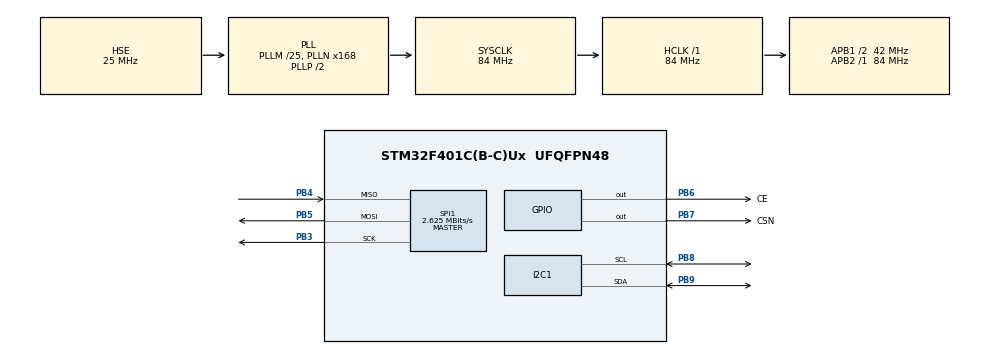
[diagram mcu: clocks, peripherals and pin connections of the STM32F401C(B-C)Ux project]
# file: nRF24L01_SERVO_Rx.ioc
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Mcu.Family=STM32F4
RCC.PLLSourceVirtual=RCC_PLLSOURCE_HSE
RCC.CortexFreq_Value=84000000
SPI1.VirtualType=VM_MASTER
PH1\ -\ OSC_OUT.Mode=HSE-External-Oscillator
PB6.GPIO_Label=CE
RCC.APB1CLKDivider=RCC_HCLK_DIV2
RCC.SYSCLKSource=RCC_SYSCLKSOURCE_PLLCLK
ProjectManager.StackSize=0x400
PA13.Signal=SYS_JTMS-SWDIO
PH0\ -\ OSC_IN.Mode=HSE-External-Oscillator
PH0\ -\ OSC_IN.Signal=RCC_OSC_IN
ProjectManager.TargetToolchain=STM32CubeIDE
SPI1.Direction=SPI_DIRECTION_2LINES
RCC.HCLKFreq_Value=84000000
PB9.Mode=I2C
RCC.APB2TimFreq_Value=84000000
PB6.Signal=GPIO_Output
SPI1.CalculateBaudRate=2.625 MBits/s
RCC.LSE_VALUE=32768
RCC.AHBFreq_Value=84000000
RCC.HSE_VALUE=25000000
PH1\ -\ OSC_OUT.Signal=RCC_OSC_OUT
PB3.Mode=Full_Duplex_Master
board=custom
RCC.VCOOutputFreq_Value=168000000
RCC.APB2Freq_Value=84000000
PB4.Mode=Full_Duplex_Master
SPI1.Mode=SPI_MODE_MASTER
PA14.Mode=Serial_Wire
PB5.Mode=Full_Duplex_Master
PB7.Signal=GPIO_Output
PA13.Mode=Serial_Wire
Mcu.Name=STM32F401C(B-C)Ux
PB7.GPIO_Label=CSN
RCC.48MHZClocksFreq_Value=42000000
PB3.Signal=SPI1_SCK
RCC.SYSCLKFreq_VALUE=84000000
Mcu.Package=UFQFPN48
PB5.Signal=SPI1_MOSI
PB9.Signal=I2C1_SDA
PA14.Signal=SYS_JTCK-SWCLK
ProjectManager.HeapSize=0x200
RCC.HSI_VALUE=16000000
NVIC.PriorityGroup=NVIC_PRIORITYGROUP_4
RCC.PLLM=25
PB8.Mode=I2C
RCC.PLLN=168
RCC.APB1TimFreq_Value=84000000
PB8.Signal=I2C1_SCL
RCC.APB1Freq_Value=42000000
SPI1.BaudRatePrescaler=SPI_BAUDRATEPRESCALER_32
PB4.Signal=SPI1_MISO

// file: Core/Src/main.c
/* USER CODE BEGIN Header */
/**
  ******************************************************************************
  * @file           : main.c
  * @brief          : Main program body
  ******************************************************************************
  * @attention
  *
  * <h2><center>&copy; Copyright (c) 2023 STMicroelectronics.
  * All rights reserved.</center></h2>
  *
  * This software component is licensed by ST under BSD 3-Clause license,
  * the "License"; You may not use this file except in compliance with the
  * License. You may obtain a copy of the License at:
  *                        opensource.org/licenses/BSD-3-Clause
  *
  ******************************************************************************
  */
/* USER CODE END Header */
#include "main.h"
#include "i2c.h"
#include "spi.h"
#include "gpio.h"

/* USER CODE BEGIN Includes */

	/* nRF24L01 */

		#include "NRF24L01.h"

	/* PCA9685 SERVO */

		#include "pca9685.h"

/* USER CODE END Includes */

/* USER CODE BEGIN PD */

	/* DEFINE SERVO */

		#define SERVO_COUNT	2

/* USER CODE END PD */

/* USER CODE BEGIN PM */

	/* nRF24L01 */

		uint8_t Rxaddr[5] = {'S','T','E','A','M'};
		uint8_t RxData[8];
		uint32_t lastTime = 0;

		float S1, S2, S3, S4 ;
		float Vx, Vy, Omega;

		int i, x;
		int Joystick_x ;
		int Joystick_y ;
		long last_time = 0, current_time = 0;;
		int Joystick();

/* USER CODE END PM */

/* USER CODE BEGIN PV */

	/* ActiveServo */

/* USER CODE END PV */

void SystemClock_Config(void);
/* USER CODE BEGIN PFP */

double map(double x, double in_min, double in_max, double out_min, double out_max) {
  return (x - in_min) * (out_max - out_min) / (in_max - in_min) + out_min;
}

	/*  RESETT DATA */

			void reset_data(void){
			  RxData[0] = 128;//x1
			  RxData[1] = 128;//y1
			  RxData[2] = 128;//x2
			  RxData[3] = 128; //y2
			  RxData[4] = 128; //y2
			  RxData[5] = 128; //y2
			  RxData[6] = 0; //y2
			  RxData[7] = 0; //y2
			}

/* USER CODE END PFP */

int main(void)
{

  /* MCU Configuration--------------------------------------------------------*/

  /* Reset of all peripherals, Initializes the Flash interface and the Systick. */
  HAL_Init();

  /* Configure the system clock */
  SystemClock_Config();

  /* Initialize all configured peripherals */
  MX_GPIO_Init();
  MX_I2C1_Init();
  MX_SPI1_Init();
  /* USER CODE BEGIN 2 */

  	 /* nRF24L01 Rxaddr */

		  NRF24_Init();
		  NRF24_RxMode(Rxaddr, 112, 8);//NRF24_TxMode(Address, channel, payload_size)
		  RxData[0] = 128;//x1
		  RxData[1] = 128;//y1
		  RxData[2] = 128;//x2
		  RxData[3] = 128; //y2
		  RxData[4] = 128; //y2
		  RxData[5] = 128; //y2
		  RxData[6] = 0; //y2
		  RxData[7] = 0; //y2

	 /* PCA SERVO */

		  PCA9685_Init(&hi2c1);

  /* USER CODE END 2 */

  /* Infinite loop */
  while (1)
  {

    /* USER CODE BEGIN 3 */

		  /* DATA RECEIVER */

			  if(DataReady(1)>0){
				  NRF24_Receive(RxData, 8);
				  lastTime = HAL_GetTick();
			  }

			  if((HAL_GetTick() - lastTime > 10)){
			  	  reset_data();
			  }

		/* DATA RECEIVER ANGLE SERVO */

			  PCA9685_SetServoAngle(15, RxData[0]);
			  PCA9685_SetServoAngle(0,  RxData[1]);

  }
  /* USER CODE END 3 */
}

void SystemClock_Config(void)
{
  RCC_OscInitTypeDef RCC_OscInitStruct = {0};
  RCC_ClkInitTypeDef RCC_ClkInitStruct = {0};

  /** Configure the main internal regulator output voltage
  */
  __HAL_RCC_PWR_CLK_ENABLE();
  __HAL_PWR_VOLTAGESCALING_CONFIG(PWR_REGULATOR_VOLTAGE_SCALE2);
  /** Initializes the RCC Oscillators according to the specified parameters
  * in the RCC_OscInitTypeDef structure.
  */
  RCC_OscInitStruct.OscillatorType = RCC_OSCILLATORTYPE_HSE;
  RCC_OscInitStruct.HSEState = RCC_HSE_ON;
  RCC_OscInitStruct.PLL.PLLState = RCC_PLL_ON;
  RCC_OscInitStruct.PLL.PLLSource = RCC_PLLSOURCE_HSE;
  RCC_OscInitStruct.PLL.PLLM = 25;
  RCC_OscInitStruct.PLL.PLLN = 168;
  RCC_OscInitStruct.PLL.PLLP = RCC_PLLP_DIV2;
  RCC_OscInitStruct.PLL.PLLQ = 4;
  if (HAL_RCC_OscConfig(&RCC_OscInitStruct) != HAL_OK)
  {
    Error_Handler();
  }
  /** Initializes the CPU, AHB and APB buses clocks
  */
  RCC_ClkInitStruct.ClockType = RCC_CLOCKTYPE_HCLK|RCC_CLOCKTYPE_SYSCLK
                              |RCC_CLOCKTYPE_PCLK1|RCC_CLOCKTYPE_PCLK2;
  RCC_ClkInitStruct.SYSCLKSource = RCC_SYSCLKSOURCE_PLLCLK;
  RCC_ClkInitStruct.AHBCLKDivider = RCC_SYSCLK_DIV1;
  RCC_ClkInitStruct.APB1CLKDivider = RCC_HCLK_DIV2;
  RCC_ClkInitStruct.APB2CLKDivider = RCC_HCLK_DIV1;

  if (HAL_RCC_ClockConfig(&RCC_ClkInitStruct, FLASH_LATENCY_2) != HAL_OK)
  {
    Error_Handler();
  }
}

void Error_Handler(void)
{
  __disable_irq();
  while (1)
  {
  }
}

/************************ (C) COPYRIGHT STMicroelectronics *****END OF FILE****/
